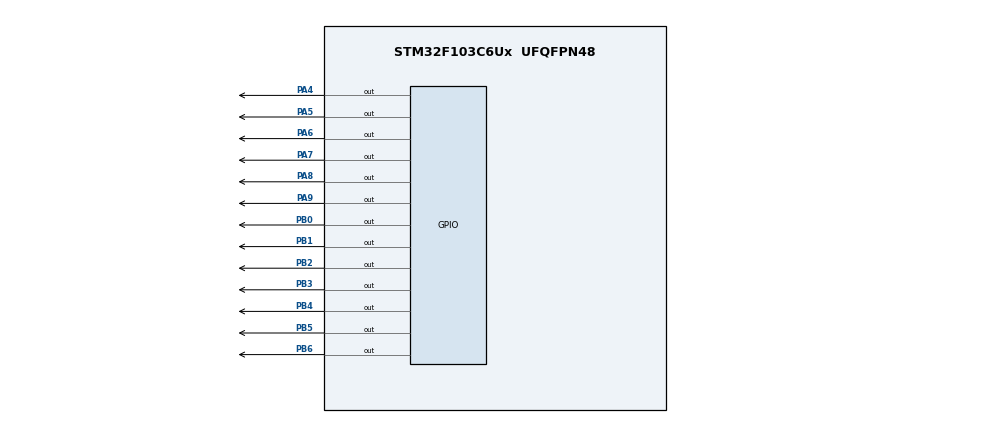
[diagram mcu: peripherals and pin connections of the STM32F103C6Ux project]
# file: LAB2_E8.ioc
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Mcu.Family=STM32F1
Mcu.Name=STM32F103C6Ux
Mcu.Package=UFQFPN48
NVIC.PriorityGroup=NVIC_PRIORITYGROUP_4
NVIC.TIM2_IRQn=true\:0\:0\:false\:false\:true\:true\:true
PA4.Signal=GPIO_Output
PA5.Signal=GPIO_Output
PA6.Signal=GPIO_Output
PA7.Signal=GPIO_Output
PA8.Signal=GPIO_Output
PA9.Signal=GPIO_Output
PB0.Signal=GPIO_Output
PB1.Signal=GPIO_Output
PB2.Signal=GPIO_Output
PB3.Signal=GPIO_Output
PB4.Signal=GPIO_Output
PB5.Signal=GPIO_Output
PB6.Signal=GPIO_Output
ProjectManager.HeapSize=0x200
ProjectManager.StackSize=0x400
ProjectManager.TargetToolchain=STM32CubeIDE
RCC.APB1Freq_Value=8000000
RCC.APB2Freq_Value=8000000
TIM2.Period=9
TIM2.Prescaler=7999
VP_SYS_VS_ND.Mode=No_Debug
VP_TIM2_VS_ClockSourceINT.Mode=Internal
board=custom

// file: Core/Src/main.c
/* USER CODE BEGIN Header */
/**
  ******************************************************************************
  * @file           : main.c
  * @brief          : Main program body
  ******************************************************************************
  * @attention
  *
  * <h2><center>&copy; Copyright (c) 2025 STMicroelectronics.
  * All rights reserved.</center></h2>
  *
  * This software component is licensed by ST under BSD 3-Clause license,
  * the "License"; You may not use this file except in compliance with the
  * License. You may obtain a copy of the License at:
  *                        opensource.org/licenses/BSD-3-Clause
  *
  ******************************************************************************
  */
/* USER CODE END Header */
#include "main.h"

TIM_HandleTypeDef htim2;

void SystemClock_Config(void);
static void MX_GPIO_Init(void);
static void MX_TIM2_Init(void);

/* USER CODE BEGIN 0 */
int timer0_counter = 0;
int timer0_flag = 0;
int TIMER_CYCLE = 10;

void setTimer0(int duration) {
    timer0_counter = duration / TIMER_CYCLE;
    timer0_flag = 0;
}

void timer_run() {
    if (timer0_counter > 0) {
        timer0_counter--;
        if (timer0_counter == 0)
            timer0_flag = 1;
    }
}

uint8_t table[10] = {
    0b1000000, // 0
    0b1111001, // 1
    0b0100100, // 2
    0b0110000, // 3
    0b0011001, // 4
    0b0010010, // 5
    0b0000010, // 6
    0b1111000, // 7
    0b0000000, // 8
    0b0010000 // 9
};

void display7SEG(int num){
	uint8_t n= table[num];
	GPIOB->ODR= (GPIOB->ODR & 0xFFFFFF80)|n;
}

const int MAX_LED = 4;
int index_led = 0;
int led_buffer [4] = {1,2,3,4};
int flag=0;

void update7SEG( int index ){
switch ( index ){
 case 0:
	 HAL_GPIO_WritePin(GPIOA, GPIO_PIN_6, RESET);
	 HAL_GPIO_WritePin(GPIOA, GPIO_PIN_7, SET);
	 HAL_GPIO_WritePin(GPIOA, GPIO_PIN_8, SET);
	 HAL_GPIO_WritePin(GPIOA, GPIO_PIN_9, SET);
	 display7SEG(led_buffer[index]);
 break ;

 case 1:
	 HAL_GPIO_WritePin(GPIOA, GPIO_PIN_6, SET);
	 HAL_GPIO_WritePin(GPIOA, GPIO_PIN_7, RESET);
	 HAL_GPIO_WritePin(GPIOA, GPIO_PIN_8, SET);
	 HAL_GPIO_WritePin(GPIOA, GPIO_PIN_9, SET);
	 display7SEG(led_buffer[index]);
// Display the second 7 SEG with led_buffer [1]
 break ;

 case 2:
	 HAL_GPIO_WritePin(GPIOA, GPIO_PIN_6, SET);
	 HAL_GPIO_WritePin(GPIOA, GPIO_PIN_7, SET);
	 HAL_GPIO_WritePin(GPIOA, GPIO_PIN_8, RESET);
	 HAL_GPIO_WritePin(GPIOA, GPIO_PIN_9, SET);
	 display7SEG(led_buffer[index]);
 // Display the third 7 SEG with led_buffer [2]
 break ;

 case 3:
	 HAL_GPIO_WritePin(GPIOA, GPIO_PIN_6, SET);
	 HAL_GPIO_WritePin(GPIOA, GPIO_PIN_7, SET);
	 HAL_GPIO_WritePin(GPIOA, GPIO_PIN_8, SET);
	 HAL_GPIO_WritePin(GPIOA, GPIO_PIN_9, RESET);
	 display7SEG(led_buffer[index]);
 // Display the forth 7 SEG with led_buffer [3]
 break ;

 default :
 break ;
 }
}
int hour = 15, minute = 8, second = 50;

  void updateClockBuffer(){
  int led1=0, led2=0, led3=0, led4=0;
  led1=hour/10;
  led2=hour%10;
  led3=minute/10;
  led4=minute%10;

  led_buffer[0]= led1;
  led_buffer[1]= led2;
  led_buffer[2]= led3;
  led_buffer[3]= led4;
 }

/* USER CODE END 0 */

int main(void)
{

  /* MCU Configuration--------------------------------------------------------*/

  /* Reset of all peripherals, Initializes the Flash interface and the Systick. */
  HAL_Init();

  /* Configure the system clock */
  SystemClock_Config();

  /* Initialize all configured peripherals */
  MX_GPIO_Init();
  MX_TIM2_Init();
  /* USER CODE BEGIN 2 */
  HAL_TIM_Base_Start_IT(&htim2);
  /* USER CODE END 2 */

  /* Infinite loop */
  /* USER CODE BEGIN WHILE */
  setTimer0(1000);
  while (1)
  {
    /* USER CODE END WHILE */
		if(timer0_flag){
			second++;
			setTimer0(1000);
			HAL_GPIO_TogglePin(GPIOA, GPIO_PIN_4);
			HAL_GPIO_TogglePin(GPIOA, GPIO_PIN_5);
			if(index_led<3){
			    	index_led++;
			    }
			 else index_led=0;
		}

	    if (second >= 60) {
			second = 0;
			minute++;
	    }
		if (minute >= 60) {
			minute = 0;
			hour++;
	    }
	    if (hour >= 24) {
			hour = 0;
	    }
	    updateClockBuffer();
	    update7SEG(index_led);
  }
}

void SystemClock_Config(void)
{
  RCC_OscInitTypeDef RCC_OscInitStruct = {0};
  RCC_ClkInitTypeDef RCC_ClkInitStruct = {0};

  /** Initializes the RCC Oscillators according to the specified parameters
  * in the RCC_OscInitTypeDef structure.
  */
  RCC_OscInitStruct.OscillatorType = RCC_OSCILLATORTYPE_HSI;
  RCC_OscInitStruct.HSIState = RCC_HSI_ON;
  RCC_OscInitStruct.HSICalibrationValue = RCC_HSICALIBRATION_DEFAULT;
  RCC_OscInitStruct.PLL.PLLState = RCC_PLL_NONE;
  if (HAL_RCC_OscConfig(&RCC_OscInitStruct) != HAL_OK)
  {
    Error_Handler();
  }
  /** Initializes the CPU, AHB and APB buses clocks
  */
  RCC_ClkInitStruct.ClockType = RCC_CLOCKTYPE_HCLK|RCC_CLOCKTYPE_SYSCLK
                              |RCC_CLOCKTYPE_PCLK1|RCC_CLOCKTYPE_PCLK2;
  RCC_ClkInitStruct.SYSCLKSource = RCC_SYSCLKSOURCE_HSI;
  RCC_ClkInitStruct.AHBCLKDivider = RCC_SYSCLK_DIV1;
  RCC_ClkInitStruct.APB1CLKDivider = RCC_HCLK_DIV1;
  RCC_ClkInitStruct.APB2CLKDivider = RCC_HCLK_DIV1;

  if (HAL_RCC_ClockConfig(&RCC_ClkInitStruct, FLASH_LATENCY_0) != HAL_OK)
  {
    Error_Handler();
  }
}

static void MX_TIM2_Init(void)
{

  TIM_ClockConfigTypeDef sClockSourceConfig = {0};
  TIM_MasterConfigTypeDef sMasterConfig = {0};

  htim2.Instance = TIM2;
  htim2.Init.Prescaler = 7999;
  htim2.Init.CounterMode = TIM_COUNTERMODE_UP;
  htim2.Init.Period = 9;
  htim2.Init.ClockDivision = TIM_CLOCKDIVISION_DIV1;
  htim2.Init.AutoReloadPreload = TIM_AUTORELOAD_PRELOAD_DISABLE;
  if (HAL_TIM_Base_Init(&htim2) != HAL_OK)
  {
    Error_Handler();
  }
  sClockSourceConfig.ClockSource = TIM_CLOCKSOURCE_INTERNAL;
  if (HAL_TIM_ConfigClockSource(&htim2, &sClockSourceConfig) != HAL_OK)
  {
    Error_Handler();
  }
  sMasterConfig.MasterOutputTrigger = TIM_TRGO_RESET;
  sMasterConfig.MasterSlaveMode = TIM_MASTERSLAVEMODE_DISABLE;
  if (HAL_TIMEx_MasterConfigSynchronization(&htim2, &sMasterConfig) != HAL_OK)
  {
    Error_Handler();
  }

}

static void MX_GPIO_Init(void)
{
  GPIO_InitTypeDef GPIO_InitStruct = {0};

  /* GPIO Ports Clock Enable */
  __HAL_RCC_GPIOA_CLK_ENABLE();
  __HAL_RCC_GPIOB_CLK_ENABLE();

  /*Configure GPIO pin Output Level */
  HAL_GPIO_WritePin(GPIOA, GPIO_PIN_4|GPIO_PIN_5|GPIO_PIN_6|GPIO_PIN_7
                          |GPIO_PIN_8|GPIO_PIN_9, GPIO_PIN_RESET);

  /*Configure GPIO pin Output Level */
  HAL_GPIO_WritePin(GPIOB, GPIO_PIN_0|GPIO_PIN_1|GPIO_PIN_2|GPIO_PIN_3
                          |GPIO_PIN_4|GPIO_PIN_5|GPIO_PIN_6, GPIO_PIN_RESET);

  /*Configure GPIO pins : PA4 PA5 PA6 PA7
                           PA8 PA9 */
  GPIO_InitStruct.Pin = GPIO_PIN_4|GPIO_PIN_5|GPIO_PIN_6|GPIO_PIN_7
                          |GPIO_PIN_8|GPIO_PIN_9;
  GPIO_InitStruct.Mode = GPIO_MODE_OUTPUT_PP;
  GPIO_InitStruct.Pull = GPIO_NOPULL;
  GPIO_InitStruct.Speed = GPIO_SPEED_FREQ_LOW;
  HAL_GPIO_Init(GPIOA, &GPIO_InitStruct);

  /*Configure GPIO pins : PB0 PB1 PB2 PB3
                           PB4 PB5 PB6 */
  GPIO_InitStruct.Pin = GPIO_PIN_0|GPIO_PIN_1|GPIO_PIN_2|GPIO_PIN_3
                          |GPIO_PIN_4|GPIO_PIN_5|GPIO_PIN_6;
  GPIO_InitStruct.Mode = GPIO_MODE_OUTPUT_PP;
  GPIO_InitStruct.Pull = GPIO_NOPULL;
  GPIO_InitStruct.Speed = GPIO_SPEED_FREQ_LOW;
  HAL_GPIO_Init(GPIOB, &GPIO_InitStruct);

}

/* USER CODE BEGIN 4 */
void HAL_TIM_PeriodElapsedCallback(TIM_HandleTypeDef *htim){
	timer_run();
}
/* USER CODE END 4 */

void Error_Handler(void)
{
  __disable_irq();
  while (1)
  {
  }
}

/************************ (C) COPYRIGHT STMicroelectronics *****END OF FILE****/
